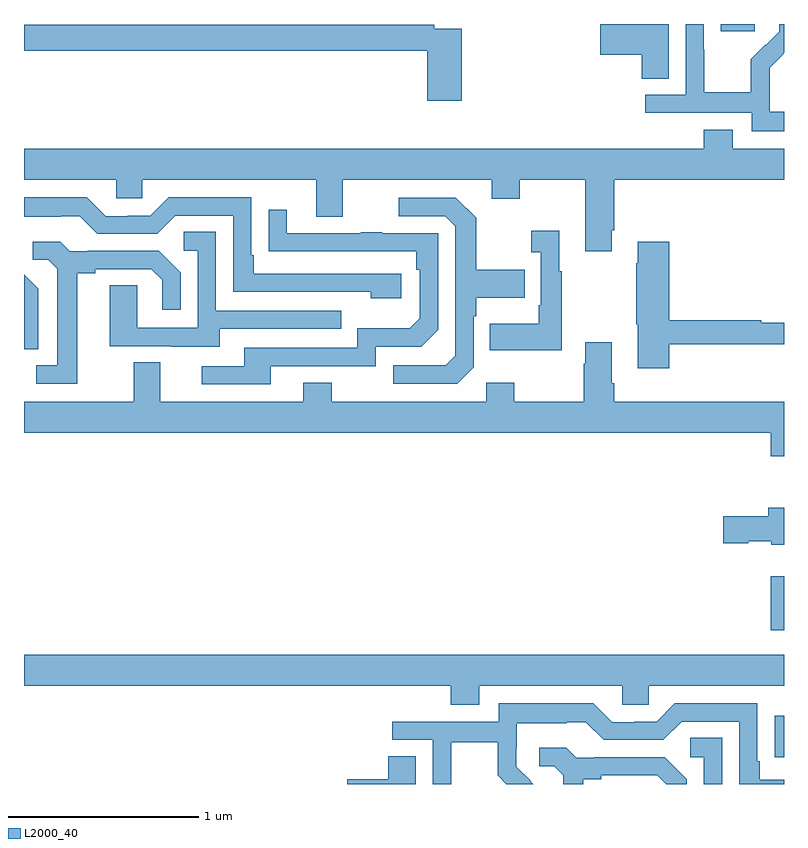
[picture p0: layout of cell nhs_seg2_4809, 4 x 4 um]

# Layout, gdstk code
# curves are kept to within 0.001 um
import gdstk
lib = gdstk.Library(unit=1e-6, precision=1e-09)
def R(c, l, rs):  # rectangles x0, y0, x1, y1
    for r in rs: c.add(gdstk.rectangle(r[:2], r[2:], *l))
def P(c, l, *ps):  # polygons
    for p in ps: c.add(gdstk.Polygon(p, *l))
L2000_40 = (2000, 40)

nhs_seg2_4809 = lib.new_cell('nhs_seg2_4809')
R(nhs_seg2_4809, L2000_40, [(376.951,633.94,377,634.159), (376.931,634.608,377,634.894), (376.667,637.761,376.846,637.8)])
P(nhs_seg2_4809, L2000_40, [(377,637.339),(376.926,637.339),(376.926,637.473),(376.924,637.473),(376.924,637.57),(376.998,637.644),(376.997,637.645),(377,637.648),(377,637.8),(376.976,637.8),(376.976,637.76),(376.905,637.689),(376.902,637.692),(376.825,637.615),(376.825,637.441),(376.581,637.441),(376.581,637.664),(376.578,637.664),(376.578,637.8),(376.482,637.8),(376.482,637.428),(376.269,637.428),(376.269,637.332),(376.83,637.332),(376.83,637.235),(377,637.235)],
  [(376.393,637.8),(376.032,637.8),(376.032,637.637),(376.25,637.637),(376.25,637.513),(376.393,637.513)],
  [(375.305,637.776),(375.158,637.776),(375.158,637.796),(373,637.796),(373,637.66),(375.122,637.66),(375.122,637.395),(375.305,637.395)],
  [(376.093,636.715),(376.106,636.715),(376.106,636.98),(377,636.98),(377,637.144),(376.729,637.144),(376.729,637.243),(376.577,637.243),(376.577,637.144),(373,637.144),(373,636.98),(373.485,636.98),(373.485,636.882),(373.623,636.882),(373.623,636.98),(374.537,636.98),(374.537,636.786),(374.677,636.786),(374.677,636.98),(375.461,636.98),(375.461,636.881),(375.609,636.881),(375.609,636.98),(375.953,636.98),(375.953,636.603),(376.093,636.603)],
  [(374.986,636.486),(374.209,636.486),(374.209,636.583),(374.196,636.583),(374.196,636.888),(373.761,636.888),(373.665,636.792),(373.547,636.792),(373.547,636.789),(373.431,636.789),(373.331,636.889),(373,636.889),(373,636.785),(373.193,636.785),(373.193,636.789),(373.293,636.789),(373.386,636.696),(373.701,636.696),(373.797,636.792),(374.1,636.792),(374.1,636.39),(374.825,636.39),(374.825,636.356),(374.986,636.356)],
  [(375.366,635.994),(375.366,636.263),(375.379,636.263),(375.379,636.359),(375.635,636.359),(375.635,636.507),(375.379,636.507),(375.379,636.779),(375.273,636.885),(374.973,636.885),(374.973,636.789),(375.216,636.789),(375.27,636.735),(375.27,636.054),(375.219,636.003),(374.943,636.003),(374.943,635.907),(375.279,635.907)],
  [(374.299,636),(374.85,636),(374.85,636.102),(375.09,636.102),(375.18,636.192),(375.18,636.699),(374.885,636.699),(374.885,636.704),(374.773,636.704),(374.773,636.699),(374.383,636.699),(374.383,636.823),(374.287,636.823),(374.287,636.604),(375.064,636.603),(375.064,636.506),(375.084,636.506),(375.084,636.252),(375.031,636.199),(374.754,636.199),(374.754,636.096),(374.159,636.096),(374.159,636),(373.935,636),(373.935,635.904),(374.299,635.904)],
  [(375.829,636.499),(375.817,636.499),(375.817,636.712),(375.669,636.712),(375.669,636.599),(375.72,636.599),(375.72,636.319),(375.708,636.319),(375.708,636.223),(375.451,636.223),(375.451,636.083),(375.829,636.083)],
  [(374.029,636.195),(374.669,636.195),(374.669,636.291),(374.01,636.291),(374.01,636.707),(373.842,636.707),(373.842,636.606),(373.914,636.606),(373.914,636.201),(373.596,636.201),(373.596,636.425),(373.451,636.425),(373.451,636.105),(373.775,636.105),(373.775,636.101),(374.029,636.101)],
  [(373.279,636.488),(373.375,636.488),(373.375,636.51),(373.67,636.51),(373.727,636.453),(373.727,636.297),(373.824,636.297),(373.824,636.49),(373.708,636.606),(373.336,636.606),(373.336,636.603),(373.242,636.603),(373.19,636.655),(373.047,636.655),(373.047,636.558),(373.128,636.558),(373.175,636.511),(373.175,636.003),(373.065,636.003),(373.065,635.907),(373.279,635.907)],
  [(376.397,636.114),(377,636.114),(377,636.227),(376.88,636.227),(376.88,636.242),(376.397,636.242),(376.397,636.655),(376.229,636.655),(376.229,636.542),(376.222,636.542),(376.222,636.219),(376.229,636.219),(376.229,635.988),(376.397,635.988)],
  [(373.074,636.406),(373.001,636.479),(373.002,636.48),(373,636.482),(373,636.088),(373.074,636.088)],
  [(377,635.812),(376.106,635.812),(376.106,635.908),(376.093,635.908),(376.093,636.124),(375.953,636.124),(375.953,636.011),(375.946,636.011),(375.946,635.812),(375.579,635.812),(375.579,635.911),(375.432,635.911),(375.432,635.812),(374.619,635.812),(374.619,635.911),(374.471,635.911),(374.471,635.812),(373.717,635.812),(373.717,636.02),(373.577,636.02),(373.577,635.812),(373,635.812),(373,635.648),(376.931,635.648),(376.931,635.524),(377,635.524)],
  [(377,635.254),(376.916,635.254),(376.916,635.208),(376.68,635.208),(376.68,635.066),(376.812,635.066),(376.812,635.078),(376.932,635.078),(376.932,635.06),(377,635.06)],
  [(375.397,634.316),(376.149,634.316),(376.149,634.218),(376.287,634.218),(376.287,634.316),(377,634.316),(377,634.48),(373,634.48),(373,634.316),(375.245,634.316),(375.245,634.217),(375.397,634.217)],
  [(375.249,634.02),(375.493,634.02),(375.493,633.845),(375.538,633.8),(375.68,633.8),(375.665,633.815),(375.666,633.816),(375.592,633.89),(375.592,633.987),(375.594,633.987),(375.594,634.121),(375.857,634.121),(375.857,634.125),(375.957,634.125),(376.05,634.032),(376.365,634.032),(376.461,634.128),(376.764,634.128),(376.764,633.8),(377,633.8),(377,633.822),(376.873,633.822),(376.873,633.919),(376.86,633.919),(376.86,634.224),(376.425,634.224),(376.329,634.128),(376.211,634.128),(376.211,634.125),(376.095,634.125),(375.995,634.225),(375.498,634.225),(375.498,634.128),(374.937,634.128),(374.937,634.032),(375.15,634.032),(375.15,633.8),(375.249,633.8)],
  [(376.674,634.043),(376.506,634.043),(376.506,633.942),(376.578,633.942),(376.578,633.8),(376.674,633.8)],
  [(375.943,633.824),(376.039,633.824),(376.039,633.846),(376.334,633.846),(376.38,633.8),(376.488,633.8),(376.488,633.826),(376.372,633.942),(376,633.942),(376,633.939),(375.906,633.939),(375.854,633.991),(375.711,633.991),(375.711,633.894),(375.792,633.894),(375.839,633.847),(375.839,633.8),(375.943,633.8)],
  [(375.061,633.947),(374.918,633.947),(374.918,633.824),(374.7,633.824),(374.7,633.8),(375.061,633.8)])

lib.write_gds('nhs_seg2_4809.gds')
